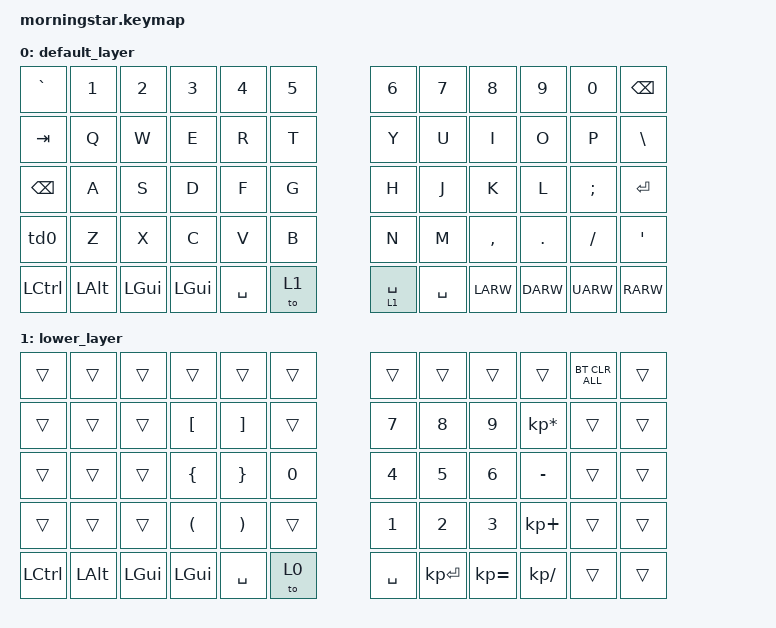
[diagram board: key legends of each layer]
#include <behaviors.dtsi>
#include <dt-bindings/zmk/keys.h>
#include <dt-bindings/zmk/bt.h>

/ {
		behaviors {
			td0: tap_dance_0 {
				compatible = "zmk,behavior-tap-dance";
				#binding-cells = <0>;
				tapping-term-ms = <200>;
				bindings = <&kp LSHIFT>, <&kp CAPS>;
			};
		};

        keymap {
                compatible = "zmk,keymap";

                default_layer {
// ---------------------------------------------------------------------------------
// |   `  |  1  |  2  |  3  |  4  |  5  |     |  6  |  7  |  8  |  9  |  0  | BKSP |
// |  TAB |  Q  |  W  |  E  |  R  |  T  |     |  Y  |  U  |  I  |  O  |  P  |  \   |
// | BKSP |  A  |  S  |  D  |  F- |  G  |     |  H  |  J- |  K  |  L  |  ;  |  ENT |
// |SFT/CP|  Z  |  X  |  C  |  V  |  B  |     |  N  |  M  |  ,  |  .  |  /  | APOS |
// | CTRL | ALT | CMD | CMD | SPC | SWLY |    |SC/lt| SPC |LARW |DARW |UARW | RARW |
// ---------------------------------------------------------------------------------
                        bindings = <
   &kp GRAVE  &kp N1    &kp N2    &kp N3     &kp N4     &kp N5               &kp N6     &kp N7      &kp N8     &kp N9    &kp N0    &kp BSPC
   &kp TAB    &kp Q     &kp W     &kp E      &kp R      &kp T                &kp Y      &kp U       &kp I      &kp O     &kp P     &kp BSLH
   &kp BSPC   &kp A     &kp S     &kp D      &kp F      &kp G                &kp H      &kp J       &kp K      &kp L     &kp SEMI  &kp RET
   &td0       &kp Z     &kp X     &kp C      &kp V      &kp B                &kp N      &kp M       &kp COMMA  &kp DOT   &kp FSLH  &kp APOS
   &kp LCTRL &kp LALT  &kp LGUI  &kp LGUI    &kp SPACE  &to 1                &lt 1 SPACE &kp SPACE   &kp LARW   &kp DARW  &kp UARW  &kp RARW
						>;
                };
                lower_layer {
// ------------------------------------------------------------------------------------------------------------
// |       |       |       |       |       |       |          |       |       |       |       |BT clear|       |
// |       |       |       | [     | ]     |       |          |  7    |   8   |   9   |  *    |       |       |
// |       |       |       | {     | } -   |    0  |          |  4    |   5-  |   6   |  -    |       |       |
// |       |       |       | (     | )     |       |          |  1    |   2   |   3   |  +    |       |       |
// | CTR   |  ALT  |  CMD  |  CMD  |  SPC  |  SWLY |          |  SPC  |   ENT |   =   |  /    |       |       |
                        bindings = <
   &trans    &trans   &trans   &trans    &trans   &trans       &trans    &trans         &trans        &trans       &bt BT_CLR_ALL     &trans  
   &trans    &trans   &trans   &kp LBKT  &kp RBKT  &trans      &kp N7    &kp N8         &kp N9        &kp KP_MULTIPLY   &trans  &trans
   &trans    &trans   &trans   &kp LBRC  &kp RBRC  &kp N0      &kp N4    &kp N5         &kp N6        &kp MINUS      &trans  &trans
   &trans    &trans   &trans   &kp LPAR  &kp RPAR  &trans      &kp N1    &kp N2         &kp N3        &kp KP_PLUS       &trans  &trans
   &kp LCTRL &kp LALT &kp LGUI &kp LGUI  &kp SPACE &to 0       &kp SPACE &kp KP_ENTER   &kp KP_EQUAL  &kp KP_DIVIDE     &trans  &trans
                        >;
                };
        };
};

